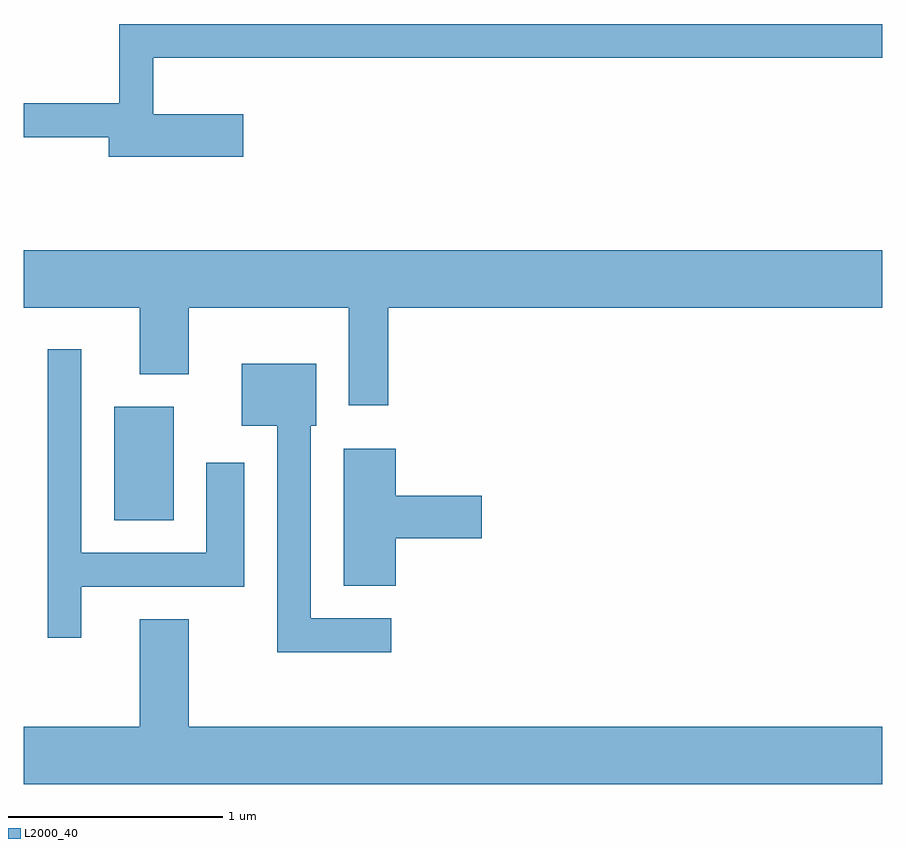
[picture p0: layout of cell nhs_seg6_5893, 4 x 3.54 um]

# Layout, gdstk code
import gdstk
lib = gdstk.Library(unit=1e-6, precision=1e-09)
def R(c, l, rs):  # rectangles x0, y0, x1, y1
    for r in rs: c.add(gdstk.rectangle(r[:2], r[2:], *l))
def P(c, l, *ps):  # polygons
    for p in ps: c.add(gdstk.Polygon(p, *l))
L2000_40 = (2000, 40)

nhs_seg6_5893 = lib.new_cell('nhs_seg6_5893')
R(nhs_seg6_5893, L2000_40, [(364.031,1635.626,364.309,1636.154)])
P(nhs_seg6_5893, L2000_40, [(364.634,1637.519),(364.214,1637.519),(364.214,1637.781),(367.611,1637.781),(367.611,1637.939),(364.056,1637.939),(364.056,1637.569),(363.611,1637.569),(363.611,1637.411),(364.006,1637.411),(364.006,1637.321),(364.634,1637.321)],
  [(363.611,1636.616),(364.151,1636.616),(364.151,1636.306),(364.379,1636.306),(364.379,1636.616),(365.126,1636.616),(365.126,1636.161),(365.309,1636.161),(365.309,1636.616),(367.611,1636.616),(367.611,1636.884),(363.611,1636.884)],
  [(363.879,1635.316),(364.639,1635.316),(364.639,1635.894),(364.461,1635.894),(364.461,1635.474),(363.879,1635.474),(363.879,1636.423),(363.721,1636.423),(363.721,1635.078),(363.879,1635.078)],
  [(365.323,1635.169),(364.949,1635.169),(364.949,1636.066),(364.974,1636.066),(364.974,1636.354),(364.626,1636.354),(364.626,1636.066),(364.791,1636.066),(364.791,1635.011),(365.323,1635.011)],
  [(365.344,1635.541),(365.744,1635.541),(365.744,1635.739),(365.344,1635.739),(365.344,1635.959),(365.101,1635.959),(365.101,1635.321),(365.344,1635.321)],
  [(367.611,1634.664),(364.379,1634.664),(364.379,1635.164),(364.151,1635.164),(364.151,1634.664),(363.611,1634.664),(363.611,1634.396),(367.611,1634.396)])

lib.write_gds('nhs_seg6_5893.gds')
